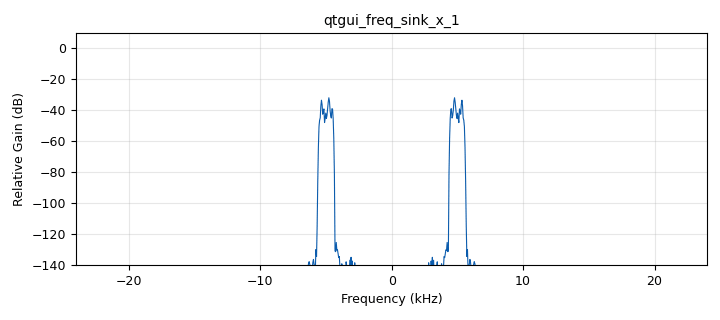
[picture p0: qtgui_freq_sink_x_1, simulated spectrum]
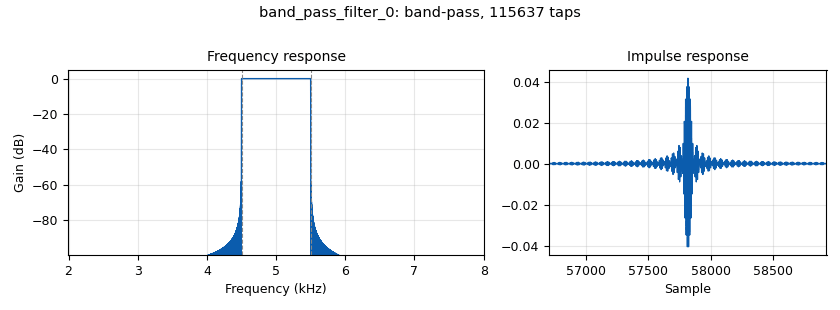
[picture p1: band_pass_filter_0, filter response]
options:
  parameters:
    generate_options: qt_gui
    id: sound_card_1_9
    output_language: python
    title: Playing output on the sound card
  states: {}

blocks:
- name: b
  id: variable_qtgui_range
  parameters:
    comment: Bandwidth
    start: '0'
    step: '10'
    stop: '10000'
    value: '1000'
  states: {}
- name: f
  id: variable_qtgui_range
  parameters:
    comment: Center frequency
    start: '0'
    step: '10'
    stop: '10000'
    value: '5000'
  states: {}
- name: samp_rate
  id: variable
  parameters:
    comment: |-
      Selecting a sample rate compatible with sound card 
      (mac internal speakers)
    value: '48000'
  states: {}
- name: analog_noise_source_x_0
  id: analog_noise_source_x
  parameters:
    amp: '1'
    noise_type: analog.GR_GAUSSIAN
    seed: '0'
    type: float
  states: {}
- name: audio_sink_0
  id: audio_sink
  parameters:
    comment: |-
      No THROTTLE since sound card
      clock defines time
    samp_rate: samp_rate
  states: {}
- name: band_pass_filter_0
  id: band_pass_filter
  parameters:
    decim: '1'
    gain: '1'
    high_cutoff_freq: f+b/2
    low_cutoff_freq: f-b/2
    samp_rate: samp_rate
    type: fir_filter_fff
    width: '1'
    win: window.WIN_HAMMING
  states: {}
- name: qtgui_freq_sink_x_1
  id: qtgui_freq_sink_x
  parameters:
    bw: samp_rate
    fc: '0'
    fftsize: '1024'
    type: float
  states: {}

connections:
- [analog_noise_source_x_0, '0', band_pass_filter_0, '0']
- [band_pass_filter_0, '0', audio_sink_0, '0']
- [band_pass_filter_0, '0', qtgui_freq_sink_x_1, '0']

metadata:
  file_format: 1
  grc_version: 3.10.12.0
